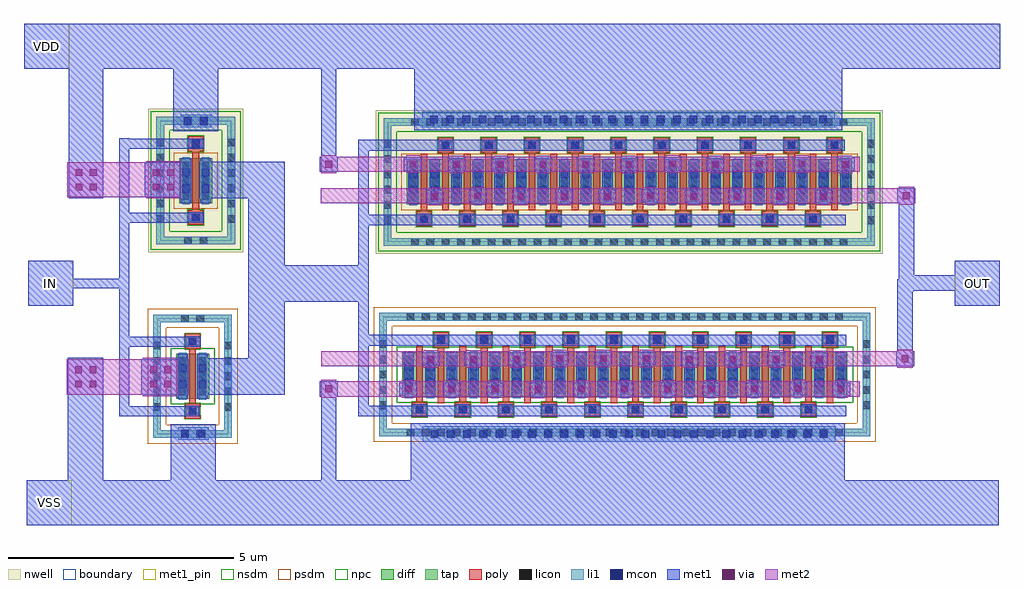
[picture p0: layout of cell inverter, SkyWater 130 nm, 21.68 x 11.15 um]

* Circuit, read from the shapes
.subckt inverter IN OUT VDD VSS
XM1 n1 IN VSS VSS sky130_fd_pr__nfet_01v8 w=1 l=0.15
XM2 OUT n1 VSS VSS sky130_fd_pr__nfet_01v8 w=1 l=0.15 m=20
XM3 n1 IN VDD VDD sky130_fd_pr__pfet_01v8 w=1 l=0.15
XM4 OUT n1 VDD VDD sky130_fd_pr__pfet_01v8 w=1 l=0.15 m=20
.ends

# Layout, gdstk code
import gdstk
lib = gdstk.Library(unit=1e-6, precision=1e-09)
def R(c, l, rs):  # rectangles x0, y0, x1, y1
    for r in rs: c.add(gdstk.rectangle(r[:2], r[2:], *l))
def A(c, l, x, y, w, h, nx, ny, dx, dy):  # array of equal rectangles
    R(c, l, [(x+i*dx, y+j*dy, x+i*dx+w, y+j*dy+h) for i in range(nx) for j in range(ny)])
nwell = (64, 20)
diff = (65, 20)
tap = (65, 44)
poly = (66, 20)
licon = (66, 44)
li1 = (67, 20)
mcon = (67, 44)
met1_pin = (68, 16)
met1 = (68, 20)
via = (68, 44)
met2 = (69, 20)
nsdm = (93, 44)
psdm = (94, 20)
npc = (95, 20)
boundary = (235, 4)

sky130_fd_pr__pfet_01v8_ = lib.new_cell('sky130_fd_pr__pfet_01v8_8DVCWJ')
R(sky130_fd_pr__pfet_01v8_, nwell, [(-5.635,-1.595,5.635,1.595)])
R(sky130_fd_pr__pfet_01v8_, diff, [(-4.945,-0.5,4.945,0.5)])
R(sky130_fd_pr__pfet_01v8_, tap, [(-5.455,-1.415,5.455,-1.245), (-5.455,-1.245,-5.285,1.245), (5.285,-1.245,5.455,1.245), (-5.455,1.245,5.455,1.415)])
A(sky130_fd_pr__pfet_01v8_, poly, -4.725, -0.985, 0.33, 0.33, 10, 1, 0.96, 0)
A(sky130_fd_pr__pfet_01v8_, poly, -4.635, -0.655, 0.15, 1.285, 10, 1, 0.96, 0)
A(sky130_fd_pr__pfet_01v8_, poly, -4.155, -0.63, 0.15, 1.285, 10, 1, 0.96, 0)
A(sky130_fd_pr__pfet_01v8_, poly, -4.245, 0.655, 0.33, 0.33, 10, 1, 0.96, 0)
A(sky130_fd_pr__pfet_01v8_, licon, -4.845, -1.415, 0.17, 0.17, 29, 2, 0.34, 2.66)
A(sky130_fd_pr__pfet_01v8_, licon, -5.455, -0.935, 0.17, 0.17, 1, 6, 0, 0.34)
A(sky130_fd_pr__pfet_01v8_, licon, 5.285, -0.935, 0.17, 0.17, 1, 6, 0, 0.34)
A(sky130_fd_pr__pfet_01v8_, licon, -4.645, -0.905, 0.17, 0.17, 10, 1, 0.96, 0)
A(sky130_fd_pr__pfet_01v8_, licon, -4.885, -0.425, 0.17, 0.17, 21, 3, 0.48, 0.34)
A(sky130_fd_pr__pfet_01v8_, licon, -4.165, 0.735, 0.17, 0.17, 10, 1, 0.96, 0)
A(sky130_fd_pr__pfet_01v8_, li1, -4.725, -0.905, 0.33, 0.17, 10, 1, 0.96, 0)
A(sky130_fd_pr__pfet_01v8_, li1, -4.885, -0.52, 0.17, 1.04, 21, 1, 0.48, 0)
A(sky130_fd_pr__pfet_01v8_, li1, -4.245, 0.735, 0.33, 0.17, 10, 1, 0.96, 0)
R(sky130_fd_pr__pfet_01v8_, li1, [(-5.455,-1.415,5.455,-1.245), (-5.455,-1.245,-5.285,1.245), (5.285,-1.245,5.455,1.245), (-5.455,1.245,5.455,1.415)])
A(sky130_fd_pr__pfet_01v8_, mcon, -4.645, -0.905, 0.17, 0.17, 10, 1, 0.96, 0)
A(sky130_fd_pr__pfet_01v8_, mcon, -4.885, -0.265, 0.17, 0.17, 21, 2, 0.48, 0.36)
A(sky130_fd_pr__pfet_01v8_, mcon, -4.165, 0.735, 0.17, 0.17, 10, 1, 0.96, 0)
A(sky130_fd_pr__pfet_01v8_, met1, -4.705, -0.935, 0.29, 0.23, 10, 1, 0.96, 0)
A(sky130_fd_pr__pfet_01v8_, met1, -4.915, -0.5, 0.23, 1, 21, 1, 0.48, 0)
A(sky130_fd_pr__pfet_01v8_, met1, -4.225, 0.705, 0.29, 0.23, 10, 1, 0.96, 0)
R(sky130_fd_pr__pfet_01v8_, nsdm, [(-5.58,-1.54,5.58,-1.12), (-5.58,-1.12,-5.16,1.12), (5.16,-1.12,5.58,1.12), (-5.58,1.12,5.58,1.54)])
R(sky130_fd_pr__pfet_01v8_, psdm, [(-5.07,-0.625,5.07,0.625)])
A(sky130_fd_pr__pfet_01v8_, npc, -4.745, -1.005, 0.37, 0.37, 10, 1, 0.96, 0)
A(sky130_fd_pr__pfet_01v8_, npc, -4.265, 0.635, 0.37, 0.37, 10, 1, 0.96, 0)
R(sky130_fd_pr__pfet_01v8_, boundary, [(-5.37,-1.33,5.37,1.33)])

sky130_fd_pr__nfet_01v8_ = lib.new_cell('sky130_fd_pr__nfet_01v8_YTLFGX')
R(sky130_fd_pr__nfet_01v8_, diff, [(-4.945,-0.5,4.945,0.5)])
R(sky130_fd_pr__nfet_01v8_, tap, [(-5.455,-1.37,5.455,-1.2), (-5.455,-1.2,-5.285,1.2), (5.285,-1.2,5.455,1.2), (-5.455,1.2,5.455,1.37)])
A(sky130_fd_pr__nfet_01v8_, poly, -4.725, -0.94, 0.33, 0.33, 10, 1, 0.96, 0)
A(sky130_fd_pr__nfet_01v8_, poly, -4.155, -0.63, 0.15, 1.24, 10, 1, 0.96, 0)
A(sky130_fd_pr__nfet_01v8_, poly, -4.635, -0.61, 0.15, 1.24, 10, 1, 0.96, 0)
A(sky130_fd_pr__nfet_01v8_, poly, -4.245, 0.61, 0.33, 0.33, 10, 1, 0.96, 0)
A(sky130_fd_pr__nfet_01v8_, licon, -4.845, -1.37, 0.17, 0.17, 29, 2, 0.34, 2.57)
A(sky130_fd_pr__nfet_01v8_, licon, -4.645, -0.86, 0.17, 0.17, 10, 1, 0.96, 0)
A(sky130_fd_pr__nfet_01v8_, licon, -5.455, -0.765, 0.17, 0.17, 1, 5, 0, 0.34)
A(sky130_fd_pr__nfet_01v8_, licon, 5.285, -0.765, 0.17, 0.17, 1, 5, 0, 0.34)
A(sky130_fd_pr__nfet_01v8_, licon, -4.885, -0.425, 0.17, 0.17, 21, 3, 0.48, 0.34)
A(sky130_fd_pr__nfet_01v8_, licon, -4.165, 0.69, 0.17, 0.17, 10, 1, 0.96, 0)
A(sky130_fd_pr__nfet_01v8_, li1, -4.725, -0.86, 0.33, 0.17, 10, 1, 0.96, 0)
A(sky130_fd_pr__nfet_01v8_, li1, -4.885, -0.52, 0.17, 1.04, 21, 1, 0.48, 0)
A(sky130_fd_pr__nfet_01v8_, li1, -4.245, 0.69, 0.33, 0.17, 10, 1, 0.96, 0)
R(sky130_fd_pr__nfet_01v8_, li1, [(-5.455,-1.37,5.455,-1.2), (-5.455,-1.2,-5.285,1.2), (5.285,-1.2,5.455,1.2), (-5.455,1.2,5.455,1.37)])
A(sky130_fd_pr__nfet_01v8_, mcon, -4.645, -0.86, 0.17, 0.17, 10, 1, 0.96, 0)
A(sky130_fd_pr__nfet_01v8_, mcon, -4.885, -0.265, 0.17, 0.17, 21, 2, 0.48, 0.36)
A(sky130_fd_pr__nfet_01v8_, mcon, -4.165, 0.69, 0.17, 0.17, 10, 1, 0.96, 0)
A(sky130_fd_pr__nfet_01v8_, met1, -4.705, -0.89, 0.29, 0.23, 10, 1, 0.96, 0)
A(sky130_fd_pr__nfet_01v8_, met1, -4.915, -0.5, 0.23, 1, 21, 1, 0.48, 0)
A(sky130_fd_pr__nfet_01v8_, met1, -4.225, 0.66, 0.29, 0.23, 10, 1, 0.96, 0)
R(sky130_fd_pr__nfet_01v8_, nsdm, [(-5.07,-0.625,5.07,0.625)])
R(sky130_fd_pr__nfet_01v8_, psdm, [(-5.58,-1.495,5.58,-1.075), (-5.58,-1.075,-5.16,1.075), (5.16,-1.075,5.58,1.075), (-5.58,1.075,5.58,1.495)])
A(sky130_fd_pr__nfet_01v8_, npc, -4.745, -0.96, 0.37, 0.37, 10, 1, 0.96, 0)
A(sky130_fd_pr__nfet_01v8_, npc, -4.265, 0.59, 0.37, 0.37, 10, 1, 0.96, 0)
R(sky130_fd_pr__nfet_01v8_, boundary, [(-5.37,-1.285,5.37,1.285)])

c_sky130_fd_pr__nfet_01v8_ = lib.new_cell('sky130_fd_pr__nfet_01v8_648S5X')
R(c_sky130_fd_pr__nfet_01v8_, diff, [(-0.365,-0.5,0.365,0.5)])
R(c_sky130_fd_pr__nfet_01v8_, tap, [(-0.875,-1.37,0.875,-1.2), (-0.875,-1.2,-0.705,1.2), (0.705,-1.2,0.875,1.2), (-0.875,1.2,0.875,1.37)])
R(c_sky130_fd_pr__nfet_01v8_, poly, [(-0.165,-0.94,0.165,-0.61), (-0.075,-0.61,0.075,0.61), (-0.165,0.61,0.165,0.94)])
A(c_sky130_fd_pr__nfet_01v8_, licon, -0.875, -0.765, 0.17, 0.17, 1, 5, 0, 0.34)
A(c_sky130_fd_pr__nfet_01v8_, licon, 0.705, -0.765, 0.17, 0.17, 1, 5, 0, 0.34)
A(c_sky130_fd_pr__nfet_01v8_, licon, -0.305, -0.425, 0.17, 0.17, 1, 3, 0, 0.34)
A(c_sky130_fd_pr__nfet_01v8_, licon, 0.135, -0.425, 0.17, 0.17, 1, 3, 0, 0.34)
R(c_sky130_fd_pr__nfet_01v8_, licon, [(-0.255,-1.37,-0.085,-1.2), (0.085,-1.37,0.255,-1.2), (-0.085,-0.86,0.085,-0.69), (-0.085,0.69,0.085,0.86), (-0.255,1.2,-0.085,1.37), (0.085,1.2,0.255,1.37)])
R(c_sky130_fd_pr__nfet_01v8_, li1, [(-0.875,-1.37,0.875,-1.2), (-0.875,-1.2,-0.705,1.2), (0.705,-1.2,0.875,1.2), (-0.165,-0.86,0.165,-0.69), (-0.305,-0.52,-0.135,0.52), (0.135,-0.52,0.305,0.52), (-0.165,0.69,0.165,0.86), (-0.875,1.2,0.875,1.37)])
R(c_sky130_fd_pr__nfet_01v8_, mcon, [(-0.085,-0.86,0.085,-0.69), (-0.305,-0.265,-0.135,-0.095), (0.135,-0.265,0.305,-0.095), (-0.305,0.095,-0.135,0.265), (0.135,0.095,0.305,0.265), (-0.085,0.69,0.085,0.86)])
R(c_sky130_fd_pr__nfet_01v8_, met1, [(-0.145,-0.89,0.145,-0.66), (-0.335,-0.5,-0.105,0.5), (0.105,-0.5,0.335,0.5), (-0.145,0.66,0.145,0.89)])
R(c_sky130_fd_pr__nfet_01v8_, nsdm, [(-0.49,-0.625,0.49,0.625)])
R(c_sky130_fd_pr__nfet_01v8_, psdm, [(-1,-1.495,1,-1.075), (-1,-1.075,-0.58,1.075), (0.58,-1.075,1,1.075), (-1,1.075,1,1.495)])
R(c_sky130_fd_pr__nfet_01v8_, npc, [(-0.185,-0.96,0.185,-0.59), (-0.185,0.59,0.185,0.96)])
R(c_sky130_fd_pr__nfet_01v8_, boundary, [(-0.79,-1.285,0.79,1.285)])

c_sky130_fd_pr__pfet_01v8_ = lib.new_cell('sky130_fd_pr__pfet_01v8_XGS3BL')
R(c_sky130_fd_pr__pfet_01v8_, nwell, [(-1.055,-1.595,1.055,1.595)])
R(c_sky130_fd_pr__pfet_01v8_, diff, [(-0.365,-0.5,0.365,0.5)])
R(c_sky130_fd_pr__pfet_01v8_, tap, [(-0.875,-1.415,0.875,-1.245), (-0.875,-1.245,-0.705,1.245), (0.705,-1.245,0.875,1.245), (-0.875,1.245,0.875,1.415)])
R(c_sky130_fd_pr__pfet_01v8_, poly, [(-0.165,-0.985,0.165,-0.655), (-0.075,-0.655,0.075,0.655), (-0.165,0.655,0.165,0.985)])
A(c_sky130_fd_pr__pfet_01v8_, licon, -0.875, -0.935, 0.17, 0.17, 1, 6, 0, 0.34)
A(c_sky130_fd_pr__pfet_01v8_, licon, 0.705, -0.935, 0.17, 0.17, 1, 6, 0, 0.34)
A(c_sky130_fd_pr__pfet_01v8_, licon, -0.305, -0.425, 0.17, 0.17, 1, 3, 0, 0.34)
A(c_sky130_fd_pr__pfet_01v8_, licon, 0.135, -0.425, 0.17, 0.17, 1, 3, 0, 0.34)
R(c_sky130_fd_pr__pfet_01v8_, licon, [(-0.255,-1.415,-0.085,-1.245), (0.085,-1.415,0.255,-1.245), (-0.085,-0.905,0.085,-0.735), (-0.085,0.735,0.085,0.905), (-0.255,1.245,-0.085,1.415), (0.085,1.245,0.255,1.415)])
R(c_sky130_fd_pr__pfet_01v8_, li1, [(-0.875,-1.415,0.875,-1.245), (-0.875,-1.245,-0.705,1.245), (0.705,-1.245,0.875,1.245), (-0.165,-0.905,0.165,-0.735), (-0.305,-0.52,-0.135,0.52), (0.135,-0.52,0.305,0.52), (-0.165,0.735,0.165,0.905), (-0.875,1.245,0.875,1.415)])
R(c_sky130_fd_pr__pfet_01v8_, mcon, [(-0.085,-0.905,0.085,-0.735), (-0.305,-0.265,-0.135,-0.095), (0.135,-0.265,0.305,-0.095), (-0.305,0.095,-0.135,0.265), (0.135,0.095,0.305,0.265), (-0.085,0.735,0.085,0.905)])
R(c_sky130_fd_pr__pfet_01v8_, met1, [(-0.145,-0.935,0.145,-0.705), (-0.335,-0.5,-0.105,0.5), (0.105,-0.5,0.335,0.5), (-0.145,0.705,0.145,0.935)])
R(c_sky130_fd_pr__pfet_01v8_, nsdm, [(-1,-1.54,1,-1.12), (-1,-1.12,-0.58,1.12), (0.58,-1.12,1,1.12), (-1,1.12,1,1.54)])
R(c_sky130_fd_pr__pfet_01v8_, psdm, [(-0.49,-0.625,0.49,0.625)])
R(c_sky130_fd_pr__pfet_01v8_, npc, [(-0.185,-1.005,0.185,-0.635), (-0.185,0.635,0.185,1.005)])
R(c_sky130_fd_pr__pfet_01v8_, boundary, [(-0.79,-1.33,0.79,1.33)])

inverter = lib.new_cell('inverter')
R(inverter, li1, [(12.76,-3.49,21.92,-3.14), (7.325,-3.44,8,-3.165), (7.38,3.5,8.055,3.775), (12.745,3.5,21.905,3.85)])
A(inverter, mcon, 12.935, -3.4, 0.17, 0.17, 25, 1, 0.36, 0)
A(inverter, mcon, 12.92, 3.59, 0.17, 0.17, 25, 1, 0.36, 0)
R(inverter, mcon, [(7.395,-3.39,7.565,-3.22), (7.755,-3.39,7.925,-3.22), (7.45,3.55,7.62,3.72), (7.81,3.55,7.98,3.72)])
R(inverter, met1_pin, [(3.96,-5.345,4.96,-4.345), (3.99,-0.465,4.99,0.535), (24.575,-0.465,25.575,0.535), (3.9,4.805,4.9,5.805)])
A(inverter, met1, 18.49, -1.79, 0.4, 0.29, 3, 1, 0.96, 0)
A(inverter, met1, 14.74, 1.82, 0.4, 0.29, 3, 1, 0.96, 0)
A(inverter, met1, 14.28, 2.53, 0.4, 0.29, 3, 1, 0.95, 0)
R(inverter, met1, [(3.96,-5.345,25.55,-4.345), (4.875,-4.345,5.665,-1.62), (7.155,-4.345,8.155,-3.1), (10.5,-4.345,10.84,-2.48), (12.495,-4.345,22.13,-3.07), (11.32,-2.92,22.16,-2.68), (6.015,-2.915,7.79,-2.695), (6.015,-2.695,6.235,-1.375), (11.32,-2.68,11.56,-1.35), (10.47,-2.48,10.87,-2.14), (15.12,-2.47,15.52,-2.18), (12.24,-2.46,12.64,-2.17), (13.2,-2.46,13.6,-2.17), (14.17,-2.46,14.57,-2.17), (16.09,-2.46,16.49,-2.17), (17.04,-2.46,17.44,-2.17), (18,-2.46,18.4,-2.17), (18.97,-2.46,19.37,-2.17), (19.92,-2.46,20.32,-2.17), (21.85,-2.46,22.25,-2.17), (20.9,-2.45,21.3,-2.16), (7.745,-2.445,9.695,-1.635), (6.51,-2.44,7.55,-1.65), (23.27,-1.81,23.67,-1.47), (21.37,-1.8,21.77,-1.51), (12.73,-1.79,13.13,-1.5), (13.68,-1.79,14.08,-1.5), (14.65,-1.79,15.05,-1.5), (15.6,-1.78,16,-1.49), (16.57,-1.78,16.97,-1.49), (17.53,-1.78,17.93,-1.49), (8.885,-1.635,9.695,-0.375), (23.3,-1.47,23.64,-0.14), (6.015,-1.375,7.825,-1.155), (11.32,-1.35,22.16,-1.11), (6.015,-1.155,6.235,-0.08), (11.32,-1.11,11.56,-0.375), (3.99,-0.465,4.99,-0.08), (24.575,-0.465,25.575,-0.13), (8.885,-0.375,11.56,0.435), (23.3,-0.14,23.67,-0.13), (23.3,-0.13,25.575,0.13), (3.99,-0.08,6.235,0.14), (23.33,0.13,25.575,0.21), (3.99,0.14,4.99,0.535), (6.015,0.14,6.235,1.385), (23.33,0.21,23.67,1.81), (24.575,0.21,25.575,0.535), (8.885,0.435,9.695,1.92), (11.32,0.435,11.56,1.32), (11.32,1.32,22.15,1.56), (6.015,1.385,7.89,1.605), (11.32,1.56,11.56,2.98), (6.015,1.605,6.235,3.02), (23.3,1.81,23.7,2.15), (12.82,1.82,13.22,2.11), (18.58,1.82,18.98,2.11), (19.54,1.82,19.94,2.11), (20.49,1.82,20.89,2.11), (21.46,1.82,21.86,2.11), (13.78,1.83,14.18,2.12), (17.61,1.83,18.01,2.12), (4.895,1.92,5.665,4.805), (7.79,1.92,9.695,2.73), (6.58,1.95,7.62,2.72), (10.47,2.51,10.87,2.85), (13.31,2.53,13.71,2.82), (17.14,2.53,17.54,2.82), (19.06,2.53,19.46,2.82), (21.95,2.53,22.35,2.82), (12.34,2.54,12.74,2.83), (18.11,2.54,18.51,2.83), (20.03,2.54,20.43,2.83), (20.98,2.54,21.38,2.83), (10.5,2.85,10.84,4.805), (11.32,2.98,22.13,3.22), (6.015,3.02,7.9,3.24), (6.015,3.24,6.235,3.255), (7.215,3.415,8.215,4.805), (12.565,3.43,22.075,4.805), (3.9,4.805,25.58,5.805)])
A(inverter, via, 18.615, -1.72, 0.15, 0.15, 3, 1, 0.96, 0)
A(inverter, via, 14.865, 1.89, 0.15, 0.15, 3, 1, 0.96, 0)
A(inverter, via, 14.405, 2.6, 0.15, 0.15, 3, 1, 0.95, 0)
R(inverter, via, [(15.245,-2.4,15.395,-2.25), (12.365,-2.39,12.515,-2.24), (13.325,-2.39,13.475,-2.24), (14.295,-2.39,14.445,-2.24), (16.215,-2.39,16.365,-2.24), (17.165,-2.39,17.315,-2.24), (18.125,-2.39,18.275,-2.24), (19.095,-2.39,19.245,-2.24), (20.045,-2.39,20.195,-2.24), (21.975,-2.39,22.125,-2.24), (10.595,-2.385,10.745,-2.235), (21.025,-2.38,21.175,-2.23), (5.035,-2.28,5.185,-2.13), (5.355,-2.28,5.505,-2.13), (6.7,-2.28,6.85,-2.13), (7.02,-2.28,7.17,-2.13), (5.035,-1.96,5.185,-1.81), (5.355,-1.96,5.505,-1.81), (6.7,-1.96,6.85,-1.81), (7.02,-1.96,7.17,-1.81), (21.495,-1.73,21.645,-1.58), (12.855,-1.72,13.005,-1.57), (13.805,-1.72,13.955,-1.57), (14.775,-1.72,14.925,-1.57), (23.395,-1.715,23.545,-1.565), (15.725,-1.71,15.875,-1.56), (16.695,-1.71,16.845,-1.56), (17.655,-1.71,17.805,-1.56), (12.945,1.89,13.095,2.04), (18.705,1.89,18.855,2.04), (19.665,1.89,19.815,2.04), (20.615,1.89,20.765,2.04), (21.585,1.89,21.735,2.04), (13.905,1.9,14.055,2.05), (17.735,1.9,17.885,2.05), (23.425,1.905,23.575,2.055), (5.045,2.1,5.195,2.25), (5.365,2.1,5.515,2.25), (6.76,2.1,6.91,2.25), (7.08,2.1,7.23,2.25), (5.045,2.42,5.195,2.57), (5.365,2.42,5.515,2.57), (6.76,2.42,6.91,2.57), (7.08,2.42,7.23,2.57), (13.435,2.6,13.585,2.75), (17.265,2.6,17.415,2.75), (19.185,2.6,19.335,2.75), (22.075,2.6,22.225,2.75), (10.595,2.605,10.745,2.755), (12.465,2.61,12.615,2.76), (18.235,2.61,18.385,2.76), (20.155,2.61,20.305,2.76), (21.105,2.61,21.255,2.76)])
A(inverter, met2, 18.54, -1.84, 0.3, 0.03, 3, 1, 0.96, 0)
A(inverter, met2, 18.54, -1.47, 0.3, 0.02, 3, 1, 0.96, 0)
A(inverter, met2, 14.79, 1.77, 0.3, 0.04, 3, 1, 0.96, 0)
A(inverter, met2, 14.79, 2.15, 0.3, 0.01, 3, 1, 0.96, 0)
A(inverter, met2, 14.33, 2.48, 0.3, 0.03, 3, 1, 0.95, 0)
A(inverter, met2, 14.33, 2.85, 0.3, 0.02, 3, 1, 0.95, 0)
R(inverter, met2, [(15.17,-2.52,15.47,-2.48), (10.5,-2.51,10.84,-2.48), (12.29,-2.51,12.59,-2.48), (13.25,-2.51,13.55,-2.48), (14.22,-2.51,14.52,-2.48), (16.14,-2.51,16.44,-2.48), (17.09,-2.51,17.39,-2.48), (18.05,-2.51,18.35,-2.48), (19.02,-2.51,19.32,-2.48), (19.97,-2.51,20.27,-2.48), (21.9,-2.51,22.2,-2.48), (20.95,-2.5,21.25,-2.48), (10.5,-2.48,22.46,-2.14), (6.54,-2.47,7.33,-2.44), (4.845,-2.44,7.33,-1.65), (10.5,-2.14,10.84,-2.11), (12.29,-2.14,12.59,-2.12), (13.25,-2.14,13.55,-2.12), (14.22,-2.14,14.52,-2.12), (15.17,-2.14,15.47,-2.13), (16.14,-2.14,16.44,-2.12), (17.09,-2.14,17.39,-2.12), (18.05,-2.14,18.35,-2.12), (19.02,-2.14,19.32,-2.12), (19.97,-2.14,20.27,-2.12), (20.95,-2.14,21.25,-2.11), (21.9,-2.14,22.2,-2.12), (21.42,-1.85,21.72,-1.81), (12.78,-1.84,13.08,-1.81), (13.73,-1.84,14.03,-1.81), (14.7,-1.84,15,-1.81), (23.3,-1.84,23.64,-1.81), (15.65,-1.83,15.95,-1.81), (16.62,-1.83,16.92,-1.81), (17.58,-1.83,17.88,-1.81), (10.5,-1.81,23.64,-1.47), (6.54,-1.65,7.33,-1.62), (12.78,-1.47,13.08,-1.45), (13.73,-1.47,14.03,-1.45), (14.7,-1.47,15,-1.45), (15.65,-1.47,15.95,-1.44), (16.62,-1.47,16.92,-1.44), (17.58,-1.47,17.88,-1.44), (21.42,-1.47,21.72,-1.46), (23.3,-1.47,23.64,-1.44), (12.87,1.77,13.17,1.81), (18.63,1.77,18.93,1.81), (19.59,1.77,19.89,1.81), (20.54,1.77,20.84,1.81), (21.51,1.77,21.81,1.81), (13.83,1.78,14.13,1.81), (17.66,1.78,17.96,1.81), (23.33,1.78,23.67,1.81), (10.49,1.81,23.67,2.15), (6.61,1.92,7.38,1.95), (4.865,1.95,7.38,2.72), (12.87,2.15,13.17,2.16), (13.83,2.15,14.13,2.17), (17.66,2.15,17.96,2.17), (18.63,2.15,18.93,2.16), (19.59,2.15,19.89,2.16), (20.54,2.15,20.84,2.16), (21.51,2.15,21.81,2.16), (23.33,2.15,23.67,2.18), (10.5,2.48,10.84,2.51), (13.36,2.48,13.66,2.51), (17.19,2.48,17.49,2.51), (19.11,2.48,19.41,2.51), (22,2.48,22.3,2.51), (12.39,2.49,12.69,2.51), (18.16,2.49,18.46,2.51), (20.08,2.49,20.38,2.51), (21.03,2.49,21.33,2.51), (10.5,2.51,22.46,2.85), (6.61,2.72,7.38,2.75), (10.5,2.85,10.84,2.88), (12.39,2.85,12.69,2.88), (13.36,2.85,13.66,2.87), (17.19,2.85,17.49,2.87), (18.16,2.85,18.46,2.88), (19.11,2.85,19.41,2.87), (20.08,2.85,20.38,2.88), (21.03,2.85,21.33,2.88), (22,2.85,22.3,2.87)])
inverter.add(gdstk.Reference(sky130_fd_pr__pfet_01v8_, (17.345,2.285)))
inverter.add(gdstk.Reference(sky130_fd_pr__nfet_01v8_, (17.245,-1.995)))
inverter.add(gdstk.Reference(c_sky130_fd_pr__nfet_01v8_, (7.645,-2.03)))
inverter.add(gdstk.Reference(c_sky130_fd_pr__pfet_01v8_, (7.715,2.315)))
inverter.add(gdstk.Label('VDD', (4.4,5.305), layer=68, texttype=5))
inverter.add(gdstk.Label('VSS', (4.46,-4.845), layer=68, texttype=5))
inverter.add(gdstk.Label('OUT', (25.075,0.035), layer=68, texttype=5))
inverter.add(gdstk.Label('IN', (4.49,0.035), layer=68, texttype=5))

lib.write_gds('inverter.gds')
